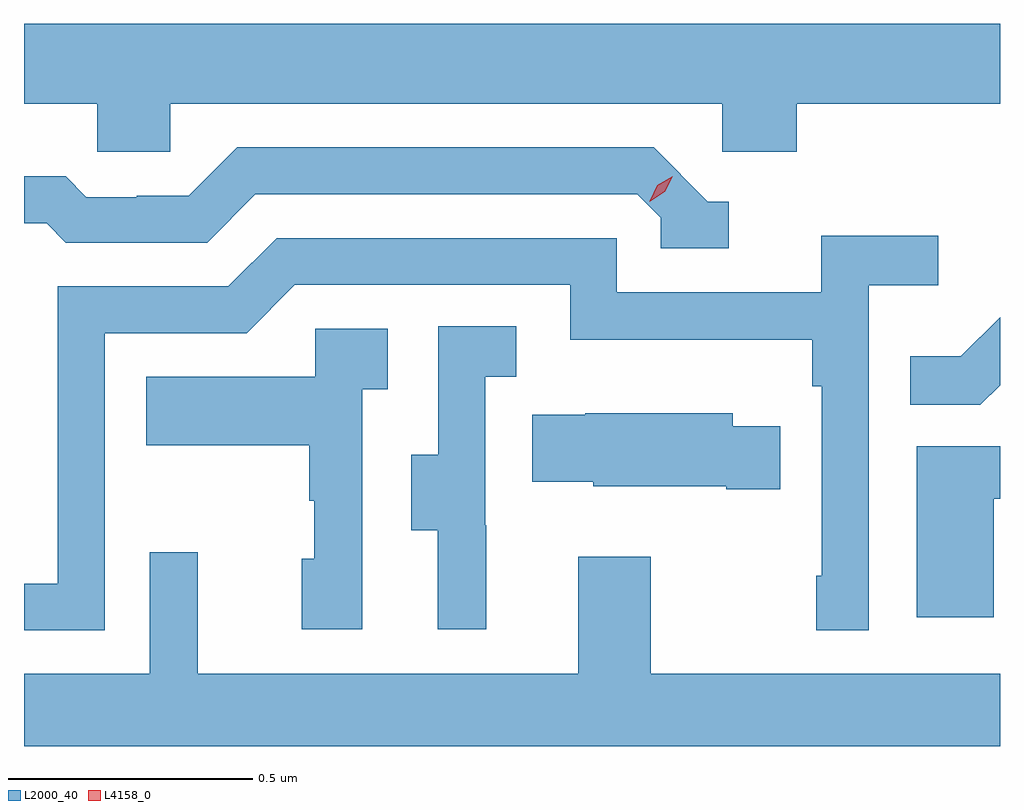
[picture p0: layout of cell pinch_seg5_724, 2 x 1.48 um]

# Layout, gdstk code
import gdstk
lib = gdstk.Library(unit=1e-6, precision=1e-09)
def P(c, l, *ps):  # polygons
    for p in ps: c.add(gdstk.Polygon(p, *l))
L2000_40 = (2000, 40)
L4158_0 = (4158, 0)

pinch_seg5_724 = lib.new_cell('pinch_seg5_724')
P(pinch_seg5_724, L2000_40, [(1116.195,842.108),(1117.326,842.108),(1117.326,842.01),(1117.478,842.01),(1117.478,842.108),(1117.895,842.108),(1117.895,842.272),(1115.895,842.272),(1115.895,842.108),(1116.045,842.108),(1116.045,842.01),(1116.195,842.01)],
  [(1117.339,841.908),(1117.296,841.908),(1117.185,842.019),(1116.332,842.019),(1116.233,841.92),(1116.126,841.92),(1116.126,841.917),(1116.023,841.917),(1115.981,841.96),(1115.895,841.96),(1115.895,841.863),(1115.942,841.863),(1115.981,841.824),(1116.27,841.824),(1116.369,841.923),(1117.152,841.923),(1117.2,841.875),(1117.2,841.812),(1117.339,841.812)],
  [(1116.06,841.638),(1116.351,841.638),(1116.45,841.737),(1117.014,841.737),(1117.014,841.625),(1117.51,841.625),(1117.51,841.529),(1117.53,841.529),(1117.53,841.141),(1117.518,841.141),(1117.518,841.029),(1117.626,841.029),(1117.626,841.736),(1117.768,841.736),(1117.768,841.838),(1117.529,841.838),(1117.529,841.722),(1117.11,841.722),(1117.11,841.833),(1116.413,841.833),(1116.314,841.734),(1115.964,841.734),(1115.964,841.125),(1115.895,841.125),(1115.895,841.029),(1116.06,841.029)],
  [(1117.895,841.532),(1117.895,841.671),(1117.815,841.591),(1117.711,841.591),(1117.711,841.492),(1117.855,841.492)],
  [(1116.842,841.245),(1116.84,841.245),(1116.84,841.549),(1116.904,841.549),(1116.904,841.652),(1116.744,841.652),(1116.744,841.389),(1116.689,841.389),(1116.689,841.234),(1116.743,841.234),(1116.743,841.032),(1116.842,841.032)],
  [(1116.588,841.523),(1116.64,841.523),(1116.64,841.647),(1116.492,841.647),(1116.492,841.549),(1116.145,841.549),(1116.145,841.409),(1116.48,841.409),(1116.48,841.295),(1116.49,841.295),(1116.49,841.176),(1116.464,841.176),(1116.464,841.032),(1116.588,841.032)],
  [(1117.445,841.447),(1117.347,841.447),(1117.347,841.474),(1117.045,841.474),(1117.045,841.471),(1116.937,841.471),(1116.937,841.334),(1117.062,841.334),(1117.062,841.325),(1117.334,841.325),(1117.334,841.318),(1117.445,841.318)],
  [(1117.882,841.299),(1117.895,841.299),(1117.895,841.407),(1117.724,841.407),(1117.724,841.056),(1117.882,841.056)],
  [(1117.895,840.94),(1117.179,840.94),(1117.179,841.18),(1117.031,841.18),(1117.031,840.94),(1116.251,840.94),(1116.251,841.189),(1116.153,841.189),(1116.153,840.94),(1115.895,840.94),(1115.895,840.792),(1117.895,840.792)])
P(pinch_seg5_724, L4158_0, [(1117.177,841.908),(1117.177,841.909),(1117.193,841.941),(1117.224,841.96),(1117.224,841.96),(1117.224,841.96),(1117.208,841.928),(1117.177,841.908)])

lib.write_gds('pinch_seg5_724.gds')
